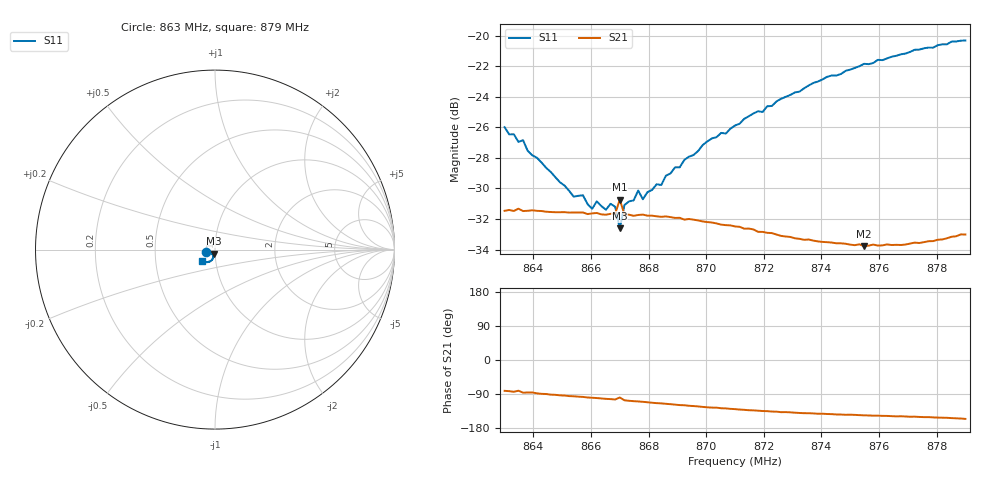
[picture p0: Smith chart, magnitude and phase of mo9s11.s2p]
# HZ S RI R 50
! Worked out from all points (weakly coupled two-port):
!   101 points, 863 MHz to 879 MHz, reference 50 ohm
!   highest |S21| = -30.73 dB at 867 MHz (marker M1); lowest = -33.8 dB at 875.48 MHz (marker M2)
!   lowest |S11| = -32.6 dB at 867 MHz (marker M3), VSWR 1.05, Z = 49.2 - j2.2 ohm
!   |S11| at or under -10 dB: start of sweep to end of sweep
!   S12 and S22 are empty: the file has one direction only
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8.63e8  -0.0483 -0.0135  0.004 -0.0264  0 0  0 0
8.6348e8  -0.0432 -0.0124  0.00424 -0.0268  0 0  0 0
8.6364e8  -0.0436 -0.0131  0.00175 -0.0266  0 0  0 0
8.638e8  -0.0399 -0.013  0.00197 -0.0266  0 0  0 0
8.654e8  -0.026 -0.0144  -0.00262 -0.0262  0 0  0 0
8.6572e8  -0.0255 -0.0159  -0.00341 -0.0262  0 0  0 0
8.6604e8  -0.0212 -0.017  -0.00441 -0.0258  0 0  0 0
8.662e8  -0.022 -0.0184  -0.00472 -0.0259  0 0  0 0
8.6652e8  -0.0183 -0.0198  -0.00562 -0.0253  0 0  0 0
8.6684e8  -0.0165 -0.0221  -0.00642 -0.0253  0 0  0 0
8.67e8  -0.00713 -0.0223  -0.00448 -0.0287  0 0  0 0
8.6716e8  -0.0152 -0.0234  -0.0073 -0.025  0 0  0 0
8.6748e8  -0.0131 -0.0257  -0.00822 -0.0244  0 0  0 0
8.6764e8  -0.0146 -0.0275  -0.00857 -0.0244  0 0  0 0
8.678e8  -0.0123 -0.0264  -0.009 -0.0244  0 0  0 0
8.6844e8  -0.0113 -0.0304  -0.0106 -0.0232  0 0  0 0
8.6892e8  -0.0103 -0.0356  -0.0118 -0.0224  0 0  0 0
8.71e8  -0.0114 -0.0495  -0.0151 -0.0183  0 0  0 0
8.7372e8  -0.0259 -0.065  -0.0166 -0.0134  0 0  0 0
8.7548e8  -0.0405 -0.07  -0.017 -0.0114  0 0  0 0
8.7644e8  -0.05 -0.0691  -0.0175 -0.0109  0 0  0 0
8.79e8  -0.0744 -0.0614  -0.0203 -0.00931  0 0  0 0
